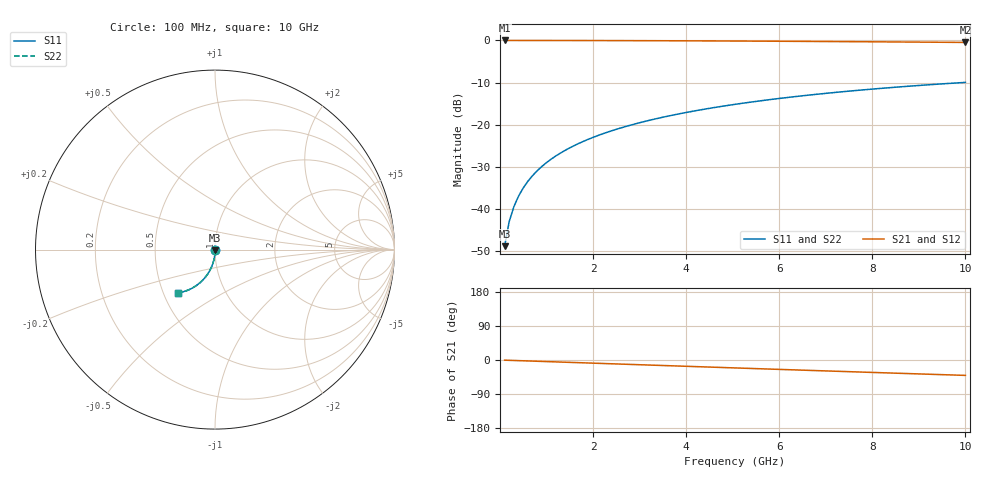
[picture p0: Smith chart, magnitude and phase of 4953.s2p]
# Hz S RI R 50.00
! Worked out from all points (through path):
!   100 points, 100 MHz to 10 GHz, reference 50 ohm
!   highest |S21| = -0.01 dB at 100 MHz (marker M1); lowest = -0.5 dB at 10 GHz (marker M2)
!   group delay of S21, straight-line fit = 11.3 ps
!   lowest |S11| = -48.9 dB at 100 MHz (marker M3), VSWR 1.01, Z = 50.1 - j0.355 ohm
!   |S11| at or under -10 dB: start of sweep to 9.955 GHz
!   |S22| runs from -48.9 to -10.0 dB; largest |S21 - S12| = 0
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1e8  0.000643 -0.00354  0.9993 -0.00725  0.9993 -0.00725  0.000643 -0.00354
2e8  0.000565 -0.00708  0.9992 -0.0145  0.9992 -0.0145  0.000565 -0.00708
3e8  0.000435 -0.0106  0.999 -0.0218  0.999 -0.0218  0.000435 -0.0106
4e8  0.000253 -0.0142  0.9988 -0.029  0.9988 -0.029  0.000253 -0.0142
5e8  1.86e-05 -0.0177  0.9985 -0.0363  0.9985 -0.0363  1.86e-05 -0.0177
6e8  -0.000267 -0.0212  0.9981 -0.0435  0.9981 -0.0435  -0.000267 -0.0212
7e8  -0.000604 -0.0248  0.9977 -0.0507  0.9977 -0.0507  -0.000604 -0.0248
8e8  -0.000992 -0.0283  0.9972 -0.058  0.9972 -0.058  -0.000992 -0.0283
9e8  -0.00143 -0.0318  0.9966 -0.0652  0.9966 -0.0652  -0.00143 -0.0318
1.1e9  -0.00246 -0.0388  0.9953 -0.0796  0.9953 -0.0796  -0.00246 -0.0388
1.4e9  -0.00439 -0.0493  0.9929 -0.1012  0.9929 -0.1012  -0.00439 -0.0493
1.8e9  -0.00767 -0.0631  0.9887 -0.1299  0.9887 -0.1299  -0.00767 -0.0631
2.1e9  -0.0106 -0.0733  0.9849 -0.1512  0.9849 -0.1512  -0.0106 -0.0733
2.5e9  -0.0153 -0.0866  0.9789 -0.1795  0.9789 -0.1795  -0.0153 -0.0866
2.9e9  -0.0207 -0.0997  0.972 -0.2075  0.972 -0.2075  -0.0207 -0.0997
3.4e9  -0.0285 -0.1155  0.962 -0.242  0.962 -0.242  -0.0285 -0.1155
4.2e9  -0.0432 -0.1395  0.943 -0.2958  0.943 -0.2958  -0.0432 -0.1395
5.1e9  -0.0628 -0.1641  0.9174 -0.3541  0.9174 -0.3541  -0.0628 -0.1641
5.9e9  -0.0826 -0.1836  0.8913 -0.4036  0.8913 -0.4036  -0.0826 -0.1836
6.7e9  -0.1043 -0.2006  0.8623 -0.4507  0.8623 -0.4507  -0.1043 -0.2006
8.4e9  -0.1552 -0.2276  0.7925 -0.5419  0.7925 -0.5419  -0.1552 -0.2276
1e10  -0.2063 -0.2412  0.719 -0.6162  0.719 -0.6162  -0.2063 -0.2412
